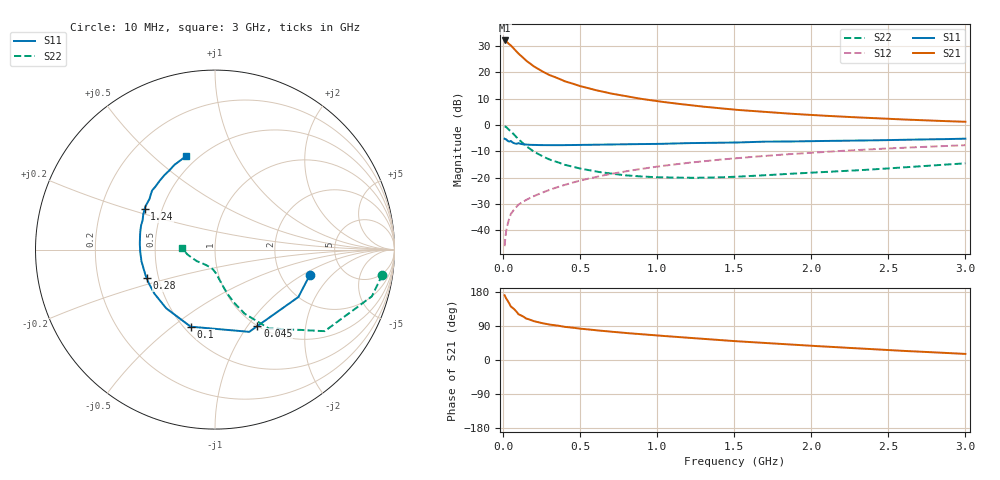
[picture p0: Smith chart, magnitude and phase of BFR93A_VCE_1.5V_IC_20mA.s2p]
! Infineon Technologies  Discrete & RF Semiconductors
! BFR93A
! VCE =  1.5 V,  IC =  20 mA
! Common Emitter S-Parameters:  Nov 2015
# GHz  S  MA  R  50
!  f  S11  S21  S12  S22
! GHz  MAG  ANG  MAG  ANG  MAG  ANG  MAG  ANG
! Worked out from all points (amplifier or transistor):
!   180 points, 10 MHz to 3 GHz, reference 50 ohm
!   highest |S21| = 32.0 dB at 10 MHz (marker M1)
!   |S21| within 3 dB of that: start of sweep to 68.54 MHz
!   unconditionally stable (mu >= 1): 384.6 MHz to end of sweep
!   at 160 MHz: K = 0.72, MSG = 26.0 dB, |S12| = -28.2 dB
!   at 1.22 GHz: K = 1.09, MAG = 9.0 dB, |S12| = -14.3 dB
!   at 3 GHz: K = 1.01, MAG = 3.7 dB, |S12| = -7.7 dB
!   S11 on the Smith chart (normalised r, x): 10 MHz: 2.88, -1.17; 45 MHz: 1.00, -1.11; 100 MHz: 0.54, -0.58; 280 MHz: 0.43, -0.16; 1.24 GHz: 0.40, +0.23; 3 GHz: 0.43, +0.65
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0.01  0.5467 -15.1  39.99 170.9  0.005 82.6  0.9425 -8.5
0.02  0.5345 -29.6  38.67 162.4  0.0096 77.9  0.912 -16.6
0.045  0.487 -61.0  33.04 145.3  0.0185 67.3  0.7794 -32.8
0.05  0.4963 -67.4  32.34 141.3  0.0203 66.3  0.7618 -36.6
0.1  0.4503 -107.5  22.51 120.7  0.0307 58.5  0.5316 -55.7
0.15  0.4252 -129.8  16.48 109.4  0.0377 58.0  0.3933 -65.2
0.2  0.4173 -143.8  12.87 102.5  0.0445 59.7  0.3107 -70.5
0.24  0.4138 -151.3  10.96 98.6  0.0499 61.0  0.2683 -73.3
0.26  0.4133 -154.6  10.16 96.7  0.0526 61.7  0.2505 -74.6
0.28  0.4124 -157.3  9.507 95.3  0.0554 62.3  0.2358 -75.6
0.3  0.4125 -160.0  8.857 93.6  0.0582 62.9  0.2213 -76.7
0.4  0.4147 -170.8  6.732 87.5  0.0727 64.9  0.1749 -81.1
0.52  0.4173 -179.7  5.27 82.0  0.0906 65.7  0.1449 -85.0
0.6  0.4202 175.5  4.572 78.5  0.1024 65.8  0.1304 -88.2
0.7  0.4237 170.6  3.943 74.7  0.1174 65.6  0.119 -92.0
0.8  0.4286 166.3  3.475 71.1  0.132 65.0  0.1101 -96.5
1.02  0.4368 157.2  2.769 64.1  0.1645 63.0  0.1013 -106.8
1.24  0.4527 150.0  2.32 57.4  0.1959 60.4  0.0993 -118.8
1.52  0.4636 141.6  1.926 49.4  0.2342 56.9  0.1041 -132.5
2.02  0.4924 128.6  1.531 37.1  0.2991 50.3  0.1242 -151.7
2.52  0.517 117.5  1.297 25.9  0.3595 43.1  0.1508 -167.8
3  0.5477 106.9  1.146 16.1  0.4122 36.1  0.1867 177.2
